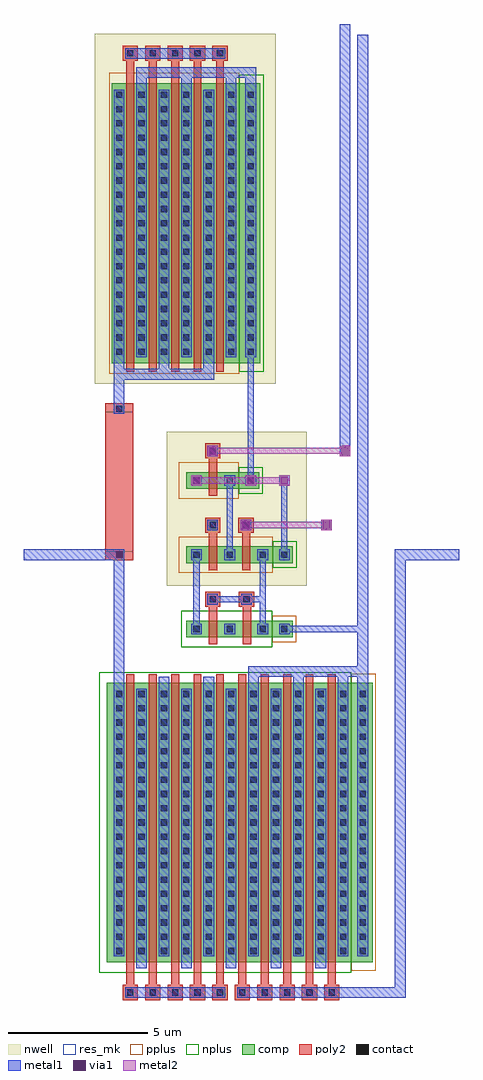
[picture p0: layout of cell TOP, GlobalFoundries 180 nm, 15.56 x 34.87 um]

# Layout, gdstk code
import gdstk
lib = gdstk.Library(unit=1e-6, precision=1e-09)
def R(c, l, rs):  # rectangles x0, y0, x1, y1
    for r in rs: c.add(gdstk.rectangle(r[:2], r[2:], *l))
def A(c, l, x, y, w, h, nx, ny, dx, dy):  # array of equal rectangles
    R(c, l, [(x+i*dx, y+j*dy, x+i*dx+w, y+j*dy+h) for i in range(nx) for j in range(ny)])
nwell = (21, 0)
comp = (22, 0)
poly2 = (30, 0)
pplus = (31, 0)
nplus = (32, 0)
contact = (33, 0)
metal1 = (34, 0)
via1 = (35, 0)
metal2 = (36, 0)
res_mk = (110, 5)

top = lib.new_cell('TOP')
R(top, nwell, [(6.47,1.81,11.47,7.31), (3.9,9.02,10.371,21.52)])
R(top, comp, [(4.32,-11.656,13.821,-1.655), (7.17,-0.04,10.97,0.56), (7.17,2.61,10.97,3.21), (7.17,5.26,9.77,5.86), (4.5,9.75,9.801,19.75)])
A(top, poly2, 4.9, -12.996, 0.54, 0.54, 10, 1, 0.8, 0)
A(top, poly2, 5.03, -12.456, 0.28, 11.101, 10, 1, 0.8, 0)
A(top, poly2, 7.97, -0.29, 0.3, 1.34, 1, 3, 0, 2.65)
A(top, poly2, 7.84, 1.05, 0.54, 0.54, 1, 3, 0, 2.65)
A(top, poly2, 5.03, 9.45, 0.28, 11.1, 5, 1, 0.8, 0)
A(top, poly2, 4.9, 20.55, 0.54, 0.54, 5, 1, 0.8, 0)
R(top, poly2, [(9.18,-0.29,9.48,1.05), (9.05,1.05,9.59,1.59), (9.16,2.36,9.46,3.7), (4.27,2.72,5.27,8.32), (4.27,2.72,5.27,8.32), (9.03,3.7,9.57,4.24)])
R(top, pplus, [(13.06,-11.956,13.94,-1.345), (10.245,-0.215,11.1,0.735), (6.9,2.26,10.25,3.56), (6.895,4.91,9.045,6.21), (4.41,9.375,9.061,20.125)])
R(top, nplus, [(4.06,-12.031,13.061,-1.28), (6.995,-0.39,10.245,0.91), (10.25,2.44,11.105,3.39), (9.045,5.09,9.9,6.04), (9.061,9.44,9.941,20.05)])
A(top, contact, 5.06, -12.836, 0.22, 0.22, 10, 1, 0.8, 0)
A(top, contact, 4.66, -11.356, 0.22, 0.22, 5, 5, 0.8, 0.51)
A(top, contact, 8.66, -11.356, 0.221, 0.22, 1, 5, 0, 0.51)
A(top, contact, 9.46, -11.356, 0.22, 0.22, 5, 5, 0.8, 0.51)
A(top, contact, 13.36, -11.356, 0.22, 0.22, 1, 5, 0, 0.51)
A(top, contact, 4.66, -8.806, 0.22, 0.221, 5, 1, 0.8, 0)
A(top, contact, 9.46, -8.806, 0.22, 0.221, 5, 1, 0.8, 0)
A(top, contact, 4.66, -8.295, 0.22, 0.22, 5, 13, 0.8, 0.51)
A(top, contact, 8.66, -8.295, 0.221, 0.22, 1, 13, 0, 0.51)
A(top, contact, 9.46, -8.295, 0.22, 0.22, 5, 13, 0.8, 0.51)
A(top, contact, 13.36, -8.295, 0.22, 0.22, 1, 13, 0, 0.51)
A(top, contact, 7.42, 0.15, 0.22, 0.22, 1, 3, 0, 2.65)
A(top, contact, 8.61, 0.15, 0.22, 0.22, 1, 3, 0, 2.65)
A(top, contact, 8, 1.21, 0.22, 0.22, 1, 3, 0, 2.65)
A(top, contact, 4.66, 10.05, 0.22, 0.22, 5, 19, 0.8, 0.51)
A(top, contact, 8.66, 10.05, 0.221, 0.22, 1, 19, 0, 0.51)
A(top, contact, 9.36, 10.05, 0.22, 0.22, 1, 19, 0, 0.51)
A(top, contact, 5.06, 20.71, 0.22, 0.22, 5, 1, 0.8, 0)
R(top, contact, [(8.66,-8.806,8.881,-8.585), (13.36,-8.806,13.58,-8.585), (9.79,0.15,10.01,0.37), (10.56,0.15,10.78,0.37), (9.21,1.21,9.43,1.43), (4.66,2.8,4.88,3.02), (4.66,2.8,4.88,3.02), (9.79,2.8,10.01,3.02), (10.56,2.8,10.78,3.02), (9.19,3.86,9.41,4.08), (9.36,5.45,9.58,5.67), (4.66,8.02,4.88,8.24), (4.66,8.02,4.88,8.24)])
A(top, metal1, 4.98, -12.916, 0.38, 0.38, 10, 1, 0.8, 0)
A(top, metal1, 4.58, -11.436, 0.38, 9.561, 5, 1, 0.8, 0)
A(top, metal1, 9.38, -11.436, 0.38, 9.561, 5, 1, 0.8, 0)
A(top, metal1, 6.18, -1.875, 0.38, 0.42, 5, 1, 1.6, 0)
A(top, metal1, 7.34, 0.07, 0.38, 0.38, 1, 3, 0, 2.65)
A(top, metal1, 8.53, 0.07, 0.38, 0.38, 1, 3, 0, 2.65)
A(top, metal1, 10.48, 0.07, 0.38, 0.38, 1, 3, 0, 2.65)
A(top, metal1, 7.92, 1.13, 0.38, 0.38, 1, 3, 0, 2.65)
A(top, metal1, 4.58, 9.97, 0.38, 9.56, 5, 1, 0.8, 0)
A(top, metal1, 4.98, 20.63, 0.38, 0.38, 5, 1, 0.8, 0)
R(top, metal1, [(4.98,-12.916,8.56,-12.536), (8.98,-12.916,12.56,-12.536), (12.18,-12.916,15,-12.536), (14.62,-12.916,15,3.1), (5.38,-11.856,5.76,-11.436), (6.98,-11.856,7.36,-11.436), (8.58,-11.856,8.961,-11.436), (10.18,-11.856,10.56,-11.436), (11.78,-11.856,12.16,-11.436), (8.58,-11.436,8.961,-1.875), (13.28,-11.436,13.66,-1.875), (4.58,-1.875,4.96,3.1), (13.28,-1.875,13.66,-1.455), (9.38,-1.455,13.66,-1.075), (13.28,-1.075,13.66,21.48), (9.71,0.07,10.09,0.45), (10.56,0.15,13.66,0.37), (7.42,0.45,7.64,2.72), (9.79,0.45,10.01,2.72), (9.13,1.13,9.51,1.51), (8.3,1.21,9.13,1.43), (9.51,1.21,10.01,1.43), (1.36,2.72,4.96,3.1), (4.58,2.72,4.96,3.1), (4.58,2.72,4.96,3.1), (9.71,2.72,10.09,3.1), (14.62,2.72,16.92,3.1), (8.61,3.1,8.83,5.37), (10.56,3.1,10.78,5.37), (9.11,3.78,9.49,4.16), (11.99,3.78,12.37,4.16), (9.28,5.37,9.66,5.75), (9.36,5.45,9.58,10.27), (12.65,6.43,13.03,21.87), (4.58,7.94,4.96,8.32), (4.58,7.94,4.96,8.32), (4.58,7.94,4.96,9.97), (4.58,9.17,8.16,9.55), (6.18,9.55,6.56,9.97), (7.78,9.55,8.16,9.97), (8.58,9.97,8.961,19.53), (9.28,9.97,9.66,19.53), (5.38,19.53,5.76,19.95), (6.98,19.53,7.36,19.95), (8.58,19.53,8.961,19.95), (9.28,19.53,9.66,19.95), (5.38,19.95,9.66,20.33), (4.98,20.63,8.56,21.01)])
R(top, via1, [(4.64,2.78,4.9,3.04), (4.64,2.78,4.9,3.04), (9.17,3.84,9.43,4.1), (12.05,3.84,12.31,4.1), (7.4,5.43,7.66,5.69), (9.34,5.43,9.6,5.69), (10.54,5.43,10.8,5.69), (7.98,6.49,8.24,6.75), (12.71,6.49,12.97,6.75)])
R(top, metal2, [(9.11,3.78,9.49,4.16), (11.99,3.78,12.37,4.16), (9.19,3.86,12.29,4.08), (7.34,5.37,7.72,5.75), (9.28,5.37,9.66,5.75), (10.48,5.37,10.86,5.75), (7.42,5.45,10.78,5.67), (7.92,6.43,8.3,6.81), (12.65,6.43,13.03,6.81), (8,6.51,12.95,6.73)])
R(top, res_mk, [(4.27,3.02,5.27,8.02), (4.27,3.02,5.27,8.02)])

lib.write_gds('TOP.gds')
